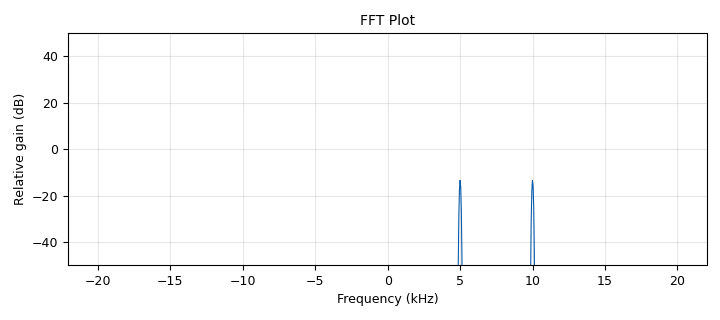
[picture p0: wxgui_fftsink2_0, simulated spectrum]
<?xml version='1.0' encoding='utf-8'?>
<flow_graph>
<block>
<key>options</key>
<param><key>id</key><value>top_block</value></param>
<param><key>title</key><value>untitled</value></param>
<param><key>author</key><value>unknown</value></param>
<param><key>description</key><value>gnuradio flow graph</value></param>
<param><key>generate_options</key><value>wx_gui</value></param>
<param><key>category</key><value>Custom</value></param>
</block>
<block>
<key>gr_complex_to_mag</key>
<param><key>id</key><value>gr_complex_to_mag_0</value></param>
<param><key>vlen</key><value>1</value></param>
</block>
<block>
<key>variable</key>
<param><key>id</key><value>samp_rate</value></param>
<param><key>value</key><value>44100</value></param>
</block>
<block>
<key>audio_sink</key>
<param><key>id</key><value>audio_sink_0</value></param>
<param><key>samp_rate</key><value>44100</value></param>
</block>
<block>
<key>gr_add_xx</key>
<param><key>id</key><value>gr_add_xx_0</value></param>
<param><key>type</key><value>complex</value></param>
<param><key>num_inputs</key><value>2</value></param>
<param><key>vlen</key><value>1</value></param>
</block>
<block>
<key>wxgui_fftsink2</key>
<param><key>id</key><value>wxgui_fftsink2_0</value></param>
<param><key>type</key><value>complex</value></param>
<param><key>title</key><value>FFT Plot</value></param>
<param><key>samp_rate</key><value>samp_rate</value></param>
<param><key>baseband_freq</key><value>0</value></param>
<param><key>y_per_div</key><value>10</value></param>
<param><key>ref_level</key><value>50</value></param>
<param><key>fft_size</key><value>1024</value></param>
<param><key>fft_rate</key><value>30</value></param>
<param><key>peak_hold</key><value>False</value></param>
<param><key>average</key><value>False</value></param>
<param><key>avg_alpha</key><value>0</value></param>
</block>
<block>
<key>gr_sig_source_x</key>
<param><key>id</key><value>gr_sig_source_x_0</value></param>
<param><key>type</key><value>complex</value></param>
<param><key>samp_rate</key><value>samp_rate</value></param>
<param><key>waveform</key><value>gr.GR_COS_WAVE</value></param>
<param><key>freq</key><value>10e3</value></param>
<param><key>amp</key><value>.3</value></param>
<param><key>offset</key><value>0</value></param>
</block>
<block>
<key>gr_sig_source_x</key>
<param><key>id</key><value>gr_sig_source_x_1</value></param>
<param><key>type</key><value>complex</value></param>
<param><key>samp_rate</key><value>samp_rate</value></param>
<param><key>waveform</key><value>gr.GR_COS_WAVE</value></param>
<param><key>freq</key><value>5e3</value></param>
<param><key>amp</key><value>.3</value></param>
<param><key>offset</key><value>0</value></param>
</block>
<connection><source_block_id>gr_add_xx_0</source_block_id><sink_block_id>gr_complex_to_mag_0</sink_block_id><source_key>0</source_key><sink_key>0</sink_key></connection>
<connection><source_block_id>gr_sig_source_x_0</source_block_id><sink_block_id>gr_add_xx_0</sink_block_id><source_key>0</source_key><sink_key>0</sink_key></connection>
<connection><source_block_id>gr_sig_source_x_1</source_block_id><sink_block_id>gr_add_xx_0</sink_block_id><source_key>0</source_key><sink_key>1</sink_key></connection>
<connection><source_block_id>gr_complex_to_mag_0</source_block_id><sink_block_id>audio_sink_0</sink_block_id><source_key>0</source_key><sink_key>0</sink_key></connection>
<connection><source_block_id>gr_add_xx_0</source_block_id><sink_block_id>wxgui_fftsink2_0</sink_block_id><source_key>0</source_key><sink_key>0</sink_key></connection>
</flow_graph>
